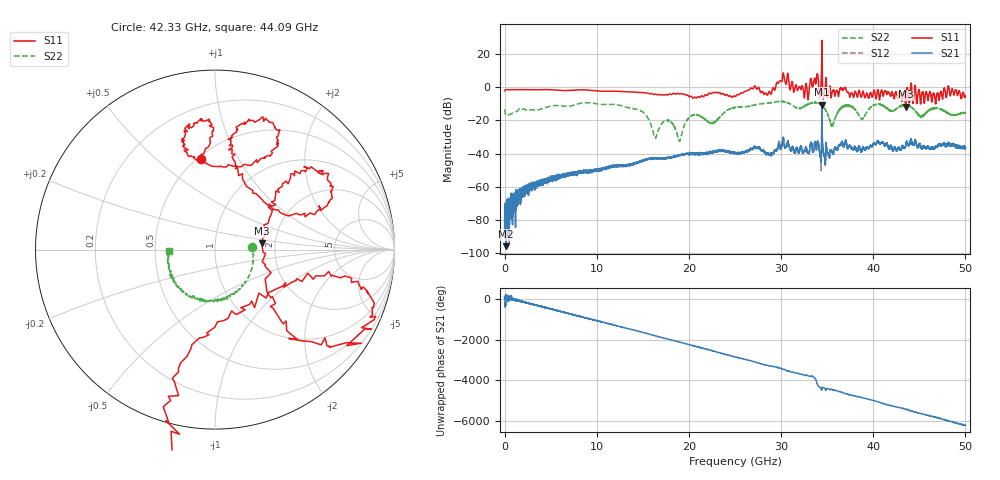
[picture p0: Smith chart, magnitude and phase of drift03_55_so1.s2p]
!Created with skrf (http://scikit-rf.org).
# Hz S RI R 50.0
!freq ReS11 ImS11 ReS21 ImS21 ReS12 ImS12 ReS22 ImS22
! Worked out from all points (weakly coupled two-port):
!   10000 points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, 5.3 MHz to 50 GHz, reference 50 ohm
!   highest |S21| = -10.38 dB at 34.43 GHz (marker M1); lowest = -95.9 dB at 150.3 MHz (marker M2)
!   lowest |S11| = -11.6 dB at 43.52 GHz (marker M3), VSWR 1.71, Z = 84.7 + j6.41 ohm
!   |S11| at or under -10 dB: 43.48785 GHz to 43.54274 GHz (54.89 MHz wide, 0.126 % of centre); 45.12427 GHz to 45.12542 GHz (1.155 MHz wide, 0.00256 % of centre); 45.1394 GHz to 45.14027 GHz (868 kHz wide, 0.00192 % of centre) (the widest 3 of 4)
!   |S22| runs from -32.5 to -8.4 dB; largest |S21 - S12| = 0.1
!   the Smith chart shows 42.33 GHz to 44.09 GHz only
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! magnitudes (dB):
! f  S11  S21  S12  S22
! 5.3 MHz  -2.1  -90.9  -74.7  -13.3
! 150.3 MHz  -1.4  -95.9  -86.4  -16.9
! 2.935 GHz  -1.4  -58.5  -59.4  -13.5
! 8.34 GHz  -1.5  -51.2  -51.0  -9.5
! 14.57 GHz  -3.1  -45.0  -45.1  -13.6
! 16.67 GHz  -4.4  -42.6  -42.8  -26.3
! 17.79 GHz  -4.3  -42.4  -42.4  -20.0
! 19 GHz  -3.9  -41.0  -40.9  -32.3
! 20.29 GHz  -5.6  -40.0  -40.0  -17.1
! 22.56 GHz  -3.1  -39.0  -38.9  -21.7
! 25.01 GHz  -5.5  -39.7  -39.8  -12.1
! 28.72 GHz  -2.5  -40.5  -40.2  -9.4
! 30.14 GHz  4.4  -33.7  -34.2  -8.5
! 32.74 GHz  2.0  -36.8  -36.4  -10.7
! 33.34 GHz  2.7  -34.8  -35.4  -9.3
! 34.43 GHz  28.3  -10.4  -13.0  -10.8
! 35.54 GHz  -3.1  -38.6  -39.0  -22.7
! 36.96 GHz  0.1  -33.1  -33.1  -11.1
! 38.78 GHz  -4.9  -38.1  -38.1  -19.0
! 41.67 GHz  -2.9  -37.0  -37.1  -13.2
! 43.52 GHz  -11.6  -35.4  -35.3  -10.8
! 50 GHz  -5.2  -36.5  -36.7  -15.5
